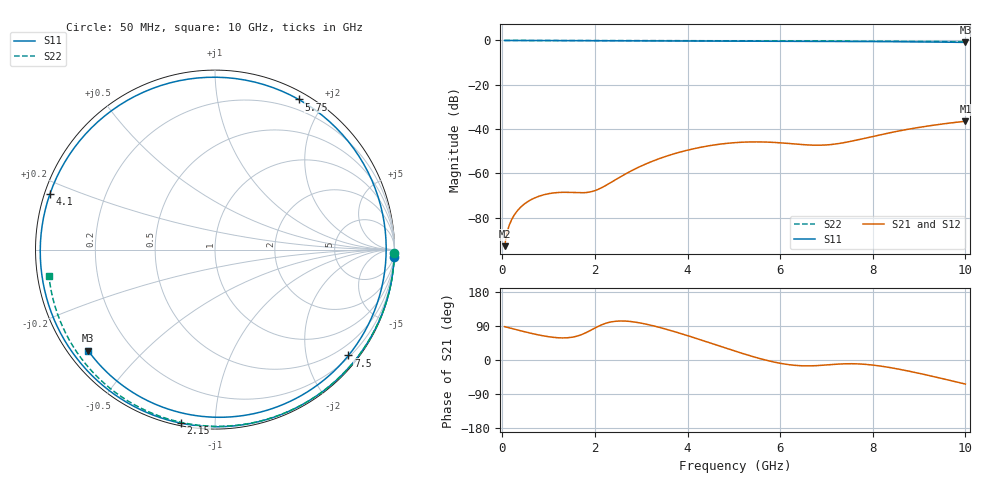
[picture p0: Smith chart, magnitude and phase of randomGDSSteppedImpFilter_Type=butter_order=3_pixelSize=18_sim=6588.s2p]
! freq	dB(S11)	phase(S11)	dB(S12)	phase(S12)
!  dB(S21)	phase(S21)	dB(S22)	phase(S22)
!S-par simulation data
#  GHz  S  DB  R 50
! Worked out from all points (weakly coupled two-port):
!   200 points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, 50 MHz to 10 GHz, reference 50 ohm
!   highest |S21| = -36.48 dB at 10 GHz (marker M1); lowest = -92.9 dB at 50 MHz (marker M2)
!   lowest |S11| = -0.9 dB at 10 GHz (marker M3), VSWR 19.73, Z = 2.84 - j17.4 ohm
!   |S11| at or under -10 dB: nowhere
!   |S22| runs from -0.6 to 0.0 dB; largest |S21 - S12| = 0
!   S11 on the Smith chart (normalised r, x): 50 MHz: 1, -47; 2.15 GHz: 0.01, -0.82; 4.1 GHz: 0.02, +0.17; 5.75 GHz: 0.08, +1.70; 7.5 GHz: 0.24, -2.85; 10 GHz: 0.06, -0.35
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0.05  -0.01 -2.4  -92.86 88.0  -92.86 88.0  -0.00 -1.0
0.2  -0.01 -9.6  -80.96 83.3  -80.96 83.3  -0.01 -3.9
0.5  -0.03 -23.8  -73.46 74.0  -73.46 74.0  -0.01 -9.8
0.85  -0.05 -40.4  -69.93 64.5  -69.93 64.5  -0.02 -16.5
1.3  -0.08 -61.5  -68.56 58.3  -68.56 58.3  -0.03 -25.2
1.75  -0.10 -82.5  -68.73 68.9  -68.73 68.9  -0.04 -33.7
2.15  -0.13 -101.1  -66.42 93.1  -66.42 93.1  -0.05 -41.2
2.75  -0.16 -129.6  -59.25 101.8  -59.25 101.8  -0.07 -52.2
3.4  -0.21 -161.6  -53.27 85.8  -53.27 85.8  -0.09 -63.9
3.75  -0.23 -179.8  -50.91 73.7  -50.91 73.7  -0.10 -70.0
4.1  -0.26 161.3  -49.03 60.4  -49.03 60.4  -0.11 -76.1
4.55  -0.30 135.5  -47.25 42.5  -47.25 42.5  -0.12 -83.7
5.05  -0.33 105.1  -46.09 22.5  -46.09 22.5  -0.14 -92.0
5.4  -0.36 83.1  -45.79 9.4  -45.79 9.4  -0.16 -97.8
5.75  -0.37 60.9  -45.91 -2.1  -45.91 -2.1  -0.18 -103.4
6.25  -0.39 29.8  -46.62 -13.2  -46.62 -13.2  -0.20 -111.4
6.7  -0.41 3.5  -47.25 -15.3  -47.25 -15.3  -0.23 -118.5
7.05  -0.42 -15.7  -47.08 -12.6  -47.08 -12.6  -0.26 -124.0
7.5  -0.45 -38.4  -45.65 -9.8  -45.65 -9.8  -0.29 -131.1
8.35  -0.54 -76.4  -41.74 -19.5  -41.74 -19.5  -0.37 -144.4
9.15  -0.68 -108.3  -38.75 -39.2  -38.75 -39.2  -0.46 -157.1
10  -0.88 -141.5  -36.48 -63.5  -36.48 -63.5  -0.57 -171.1
